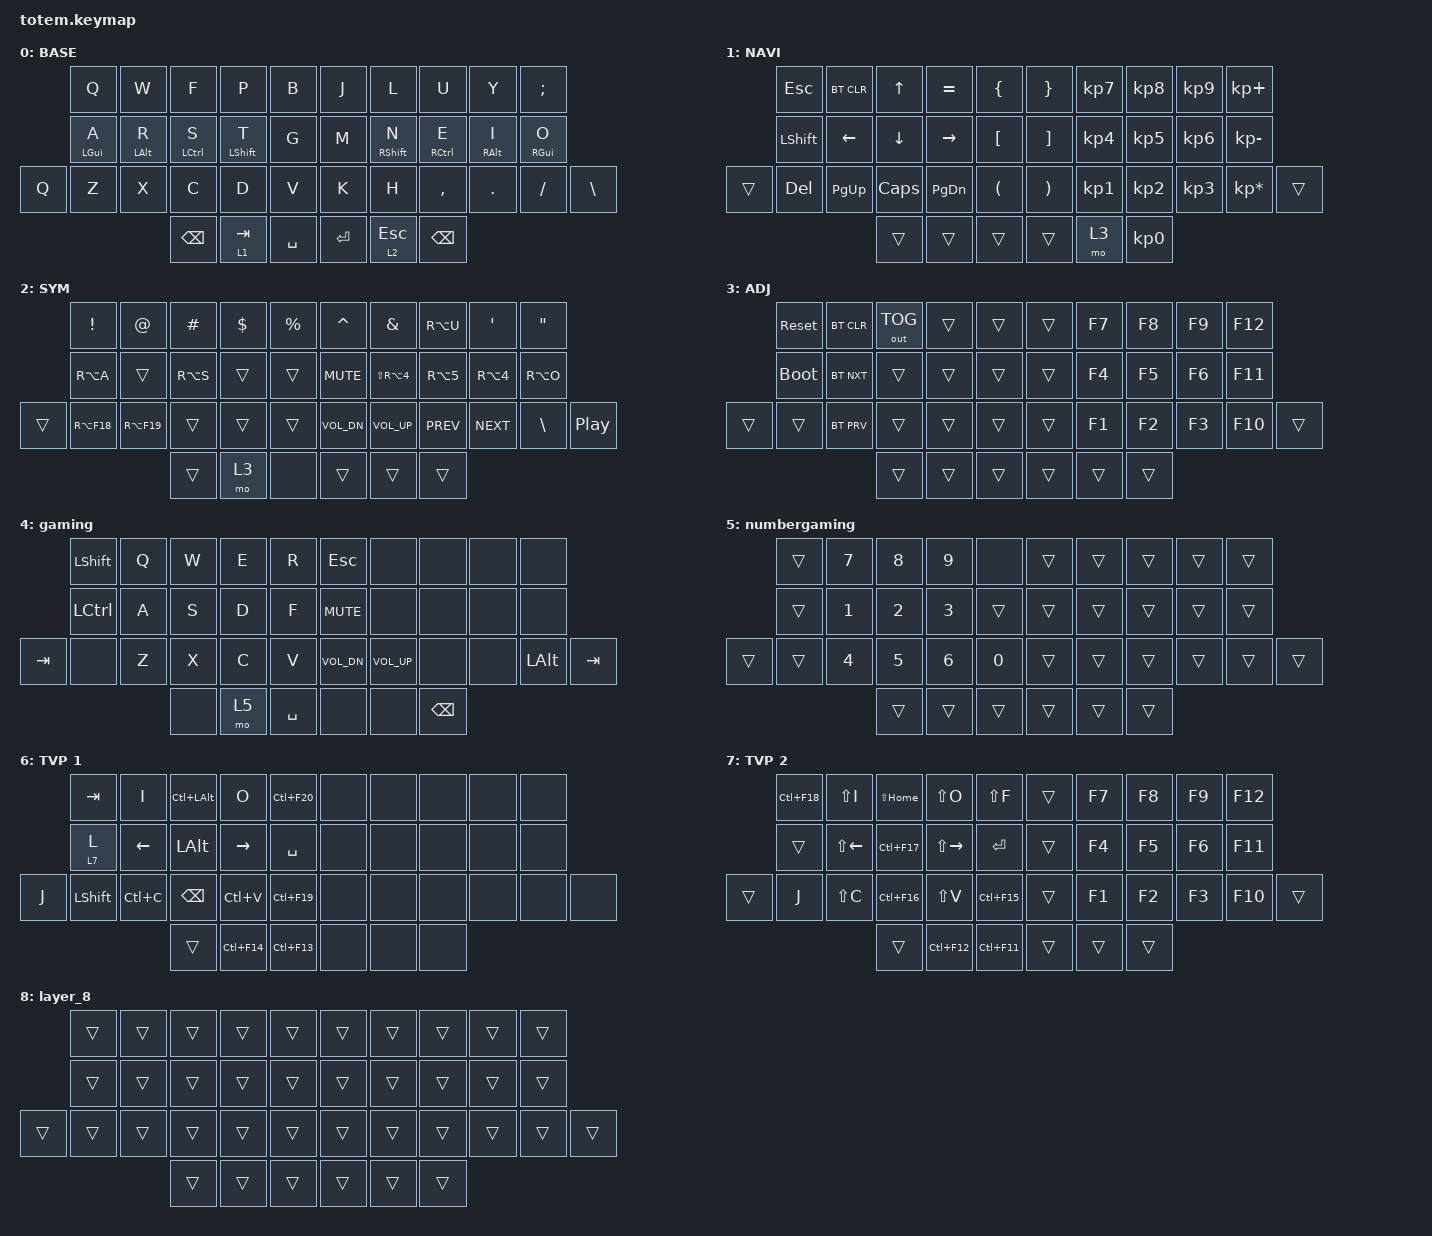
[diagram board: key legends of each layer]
//
//                                                        ▀▀▀▀▀     ▀▀▀▀▀          ▀▀█▀▀
//                                                        ▄▀▀▀▄  ▄  ▄▀▀▀▄  ▄  ▄▀▀▀▄  █  ▄▀▀▀▄
//                                                        █   █  █  █   █  █  █   █  █  █   █
//                                                         ▀▀▀   █   ▀▀▀   █   ▀▀▀   ▀   ▀▀▀
//                                                               █      ▄▄▄█▄▄▄    █   █  
//                                                               ▀      █  █  █     █▄█
//                                                             ▀▀▀▀▀    █  █  █      ▀
//                                                                      ▀  ▀  ▀
//
// ▄▄▄▄▄▄▄▄▄▄▄▄▄▄▄▄▄▄▄▄▄▄▄▄▄▄▄▄▄▄▄▄▄▄▄▄▄▄▄▄▄▄▄▄▄▄▄▄▄▄▄▄▄▄▄▄▄▄▄▄▄▄▄▄▄▄▄▄▄▄▄▄▄▄▄▄▄▄▄▄▄▄▄▄▄▄▄▄▄▄▄▄▄▄▄▄▄▄▄▄▄▄▄▄▄▄▄▄▄▄▄▄▄▄▄▄▄▄▄▄▄▄▄▄▄▄▄▄▄▄▄▄▄▄▄▄▄▄▄▄▄▄▄▄▄▄▄▄▄

#include <behaviors.dtsi>
#include <dt-bindings/zmk/bt.h>
#include <dt-bindings/zmk/keys.h>
#include <dt-bindings/zmk/outputs.h>

#define BASE 0
#define NAV  1
#define SYM  2
#define ADJ  3
#define TVP1 4
#define TVP2 5

&mt {
    quick-tap-ms = <100>;
    global-quick-tap;
    flavor = "tap-preferred";
    tapping-term-ms = <200>;
};

/ {
    combos {
        compatible = "zmk,combos";

        combo_esc {
            timeout-ms = <50>;
            key-positions = <0 1>;
            bindings = <&kp ESC>;
        };

        gamemode {
            bindings = <&tog 4>;
            key-positions = <7 8 9>;
        };

        enter {
            bindings = <&kp ENTER>;
            key-positions = <16 17 18>;
            timeout-ms = <100>;
        };

        xxzenter {
            bindings = <&kp ENTER>;
            key-positions = <11 13 12>;
        };
    };

    macros {
        gif: gif {
            label = "giphy";
            compatible = "zmk,behavior-macro";
            #binding-cells = <0>;
            bindings =
                <&macro_press>,
                <&kp LSHFT>,
                <&macro_tap>,
                <&kp N2>,
                <&macro_release>,
                <&kp LSHFT>,
                <&macro_tap>,
                <&kp G &kp I &kp F>;
        };
    };

    keymap {
        compatible = "zmk,keymap";

        // ▄▄▄▄▄▄▄▄▄▄▄▄▄▄▄▄▄▄▄▄▄▄▄▄▄▄▄▄▄▄▄▄▄▄▄▄▄▄▄▄▄▄▄▄▄▄▄▄▄▄▄▄▄▄▄▄▄▄▄▄▄▄▄▄▄▄▄▄▄▄▄▄▄▄▄▄▄▄▄▄▄▄▄▄▄▄▄▄▄▄▄▄▄▄▄▄▄▄▄▄▄▄▄▄▄▄▄▄▄▄▄▄▄▄▄▄▄▄▄▄▄▄▄▄▄▄▄▄▄▄▄▄▄▄▄▄▄▄▄▄▄▄▄▄▄▄▄▄▄

        base_layer {
            // ┏━━━━━━━━━━━━━━━━━━━━━━━━━━━━━━━━━━━━━━━┓

            label = "BASE";

            // ┗━━━━━━━━━━━━━━━━━━━━━━━━━━━━━━━━━━━━━━━┛
            //             ┏━━━━━━━━━━━┳━━━━━━━━━━━┳━━━━━━━━━━━┳━━━━━━━━━━━┳━━━━━━━━━━━┓   ┏━━━━━━━━━━━┳━━━━━━━━━━━┳━━━━━━━━━━━┳━━━━━━━━━━━┳━━━━━━━━━━━┓
            //             ┃     Q     ┃     W     ┃     F     ┃     P     ┃     G     ┃   ┃     J     ┃     L     ┃     U     ┃     Y     ┃     ;     ┃
            //             ┣━━━━━━━━━━━╋━━━━━━━━━━━╋━━━━━━━━━━━╋━━━━━━━━━━━╋━━━━━━━━━━━┫   ┣━━━━━━━━━━━╋━━━━━━━━━━━╋━━━━━━━━━━━╋━━━━━━━━━━━╋━━━━━━━━━━━┫
            //             ┃     A     ┃     R     ┃     S     ┃     T     ┃     D     ┃   ┃     H     ┃     N     ┃     E     ┃     I     ┃     O     ┃
            // ┏━━━━━━━━━━━╋━━━━━━━━━━━╋━━━━━━━━━━━╋━━━━━━━━━━━╋━━━━━━━━━━━╋━━━━━━━━━━━┫   ┣━━━━━━━━━━━╋━━━━━━━━━━━╋━━━━━━━━━━━╋━━━━━━━━━━━╋━━━━━━━━━━━╋━━━━━━━━━━━┓
            // ┃     Q     ┃     Z     ┃     X     ┃     C     ┃     V     ┃     B     ┃   ┃     K     ┃     M     ┃     ,     ┃     .     ┃     /     ┃     \     ┃
            // ┗━━━━━━━━━━━┻━━━━━━━━━━━┻━━━━━━━━━━━╋━━━━━━━━━━━╋━━━━━━━━━━━╋━━━━━━━━━━━┫   ┣━━━━━━━━━━━╋━━━━━━━━━━━╋━━━━━━━━━━━╋━━━━━━━━━━━┻━━━━━━━━━━━┻━━━━━━━━━━━┛
            //                                     ┃    DEL    ┃    TAB    ┃    SPC    ┃   ┃   ENTER   ┃           ┃   BSPC    ┃
            //                                     ┗━━━━━━━━━━━┻━━━━━━━━━━━┻━━━━━━━━━━━┛   ┗━━━━━━━━━━━┻━━━━━━━━━━━┻━━━━━━━━━━━┛

            bindings = <
       &kp Q       &kp W       &kp F          &kp P        &kp B        &kp J    &kp L        &kp U        &kp Y       &kp SEMI
       &mt LGUI A  &mt LALT R  &mt LCTRL S    &mt LSHFT T  &kp G        &kp M    &mt RSHFT N  &mt RCTRL E  &mt RALT I  &mt RGUI O
&kp Q  &kp Z       &kp X       &kp C          &kp D        &kp V        &kp K    &kp H        &kp COMMA    &kp DOT     &kp FSLH    &kp BSLH
                               &kp BACKSPACE  &lt 1 TAB    &kp SPACE    &kp RET  &lt 2 ESC    &kp BSPC
            >;
        };

        nav_layer {
            // ┏━━━━━━━━━━━━━━━━━━━━━━━━━━━━━━━━━━━━━━━┓

            label = "NAVI";

            // ┗━━━━━━━━━━━━━━━━━━━━━━━━━━━━━━━━━━━━━━━┛
            //             ┏━━━━━━━━━━━┳━━━━━━━━━━━┳━━━━━━━━━━━┳━━━━━━━━━━━┳━━━━━━━━━━━┓   ┏━━━━━━━━━━━┳━━━━━━━━━━━┳━━━━━━━━━━━┳━━━━━━━━━━━┳━━━━━━━━━━━┓
            //             ┃           ┃           ┃     UP    ┃           ┃     {     ┃   ┃     }     ┃     7     ┃     8     ┃     9     ┃     +     ┃
            //             ┣━━━━━━━━━━━╋━━━━━━━━━━━╋━━━━━━━━━━━╋━━━━━━━━━━━╋━━━━━━━━━━━┫   ┣━━━━━━━━━━━╋━━━━━━━━━━━╋━━━━━━━━━━━╋━━━━━━━━━━━╋━━━━━━━━━━━┫
            //             ┃   SHIFT   ┃   LEFT    ┃    DOWN   ┃   RIGHT   ┃     [     ┃   ┃     ]     ┃     4     ┃     5     ┃     6     ┃     -     ┃
            // ┏━━━━━━━━━━━╋━━━━━━━━━━━╋━━━━━━━━━━━╋━━━━━━━━━━━╋━━━━━━━━━━━╋━━━━━━━━━━━┫   ┣━━━━━━━━━━━╋━━━━━━━━━━━╋━━━━━━━━━━━╋━━━━━━━━━━━╋━━━━━━━━━━━╋━━━━━━━━━━━┓
            // ┃           ┃           ┃   P UP    ┃  C LOCK   ┃  P DOWN   ┃     (     ┃   ┃     )     ┃     1     ┃     2     ┃     3     ┃     *     ┃           ┃
            // ┗━━━━━━━━━━━┻━━━━━━━━━━━┻━━━━━━━━━━━╋━━━━━━━━━━━╋━━━━━━━━━━━╋━━━━━━━━━━━┫   ┣━━━━━━━━━━━╋━━━━━━━━━━━╋━━━━━━━━━━━╋━━━━━━━━━━━┻━━━━━━━━━━━┻━━━━━━━━━━━┛
            //                                     ┃           ┃    TAB    ┃    SPC    ┃   ┃    DEL    ┃     0     ┃           ┃
            //                                     ┗━━━━━━━━━━━┻━━━━━━━━━━━┻━━━━━━━━━━━┛   ┗━━━━━━━━━━━┻━━━━━━━━━━━┻━━━━━━━━━━━┛

            bindings = <
        &kp ESC    &bt BT_CLR  &kp UP    &kp EQUAL  &kp LBRC    &kp RBRC  &kp KP_N7  &kp KP_N8        &kp KP_N9  &kp KP_PLUS
        &kp LSHFT  &kp LEFT    &kp DOWN  &kp RIGHT  &kp LBKT    &kp RBKT  &kp KP_N4  &kp KP_N5        &kp KP_N6  &kp KP_MINUS
&trans  &kp DEL    &kp PG_UP   &kp CAPS  &kp PG_DN  &kp LPAR    &kp RPAR  &kp KP_N1  &kp KP_N2        &kp KP_N3  &kp KP_MULTIPLY  &trans
                               &trans    &trans     &trans      &trans    &mo 3      &kp KP_NUMBER_0
            >;
        };

        sim_layer {
            // ┏━━━━━━━━━━━━━━━━━━━━━━━━━━━━━━━━━━━━━━━┓

            label = "SYM";

            // ┗━━━━━━━━━━━━━━━━━━━━━━━━━━━━━━━━━━━━━━━┛
            //             ┏━━━━━━━━━━━┳━━━━━━━━━━━┳━━━━━━━━━━━┳━━━━━━━━━━━┳━━━━━━━━━━━┓   ┏━━━━━━━━━━━┳━━━━━━━━━━━┳━━━━━━━━━━━┳━━━━━━━━━━━┳━━━━━━━━━━━┓
            //             ┃     !     ┃     @     ┃     #     ┃     $     ┃     %     ┃   ┃     ˆ     ┃     &     ┃     Ü     ┃     '     ┃     "     ┃
            //             ┣━━━━━━━━━━━╋━━━━━━━━━━━╋━━━━━━━━━━━╋━━━━━━━━━━━╋━━━━━━━━━━━┫   ┣━━━━━━━━━━━╋━━━━━━━━━━━╋━━━━━━━━━━━╋━━━━━━━━━━━╋━━━━━━━━━━━┫
            //             ┃     Ä     ┃           ┃    SZ     ┃           ┃           ┃   ┃   MUTE    ┃   YEN     ┃   EURO    ┃  POUND    ┃     Ö     ┃
            // ┏━━━━━━━━━━━╋━━━━━━━━━━━╋━━━━━━━━━━━╋━━━━━━━━━━━╋━━━━━━━━━━━╋━━━━━━━━━━━┫   ┣━━━━━━━━━━━╋━━━━━━━━━━━╋━━━━━━━━━━━╋━━━━━━━━━━━╋━━━━━━━━━━━╋━━━━━━━━━━━┓
            // ┃           ┃  EMAIL1   ┃  EMAIL2   ┃           ┃           ┃           ┃   ┃   VOL-    ┃   VOL+    ┃   LAST    ┃   NEXT    ┃     \     ┃           ┃
            // ┗━━━━━━━━━━━┻━━━━━━━━━━━┻━━━━━━━━━━━╋━━━━━━━━━━━╋━━━━━━━━━━━╋━━━━━━━━━━━┫   ┣━━━━━━━━━━━╋━━━━━━━━━━━╋━━━━━━━━━━━╋━━━━━━━━━━━┻━━━━━━━━━━━┻━━━━━━━━━━━┛
            //                                     ┃           ┃    GIF    ┃    ADJ    ┃   ┃           ┃           ┃           ┃
            //                                     ┗━━━━━━━━━━━┻━━━━━━━━━━━┻━━━━━━━━━━━┛   ┗━━━━━━━━━━━┻━━━━━━━━━━━┻━━━━━━━━━━━┛

            bindings = <
        &kp EXCL     &kp AT       &kp HASH   &kp DLLR  &kp PRCNT    &kp CARET     &kp AMPS        &kp RA(U)   &kp SQT     &kp DQT
        &kp RA(A)    &trans       &kp RA(S)  &trans    &trans       &kp C_MUTE    &kp LS(RA(N4))  &kp RA(N5)  &kp RA(N4)  &kp RA(O)
&trans  &kp RA(F18)  &kp RA(F19)  &trans     &trans    &trans       &kp C_VOL_DN  &kp C_VOL_UP    &kp C_PREV  &kp C_NEXT  &kp BSLH   &kp C_PP
                                  &trans     &mo 3     &none        &trans        &trans          &trans
            >;
        };

        adjust_layer {
            // ┏━━━━━━━━━━━━━━━━━━━━━━━━━━━━━━━━━━━━━━━┓

            label = "ADJ";

            // ┗━━━━━━━━━━━━━━━━━━━━━━━━━━━━━━━━━━━━━━━┛
            //             ┏━━━━━━━━━━━┳━━━━━━━━━━━┳━━━━━━━━━━━┳━━━━━━━━━━━┳━━━━━━━━━━━┓   ┏━━━━━━━━━━━┳━━━━━━━━━━━┳━━━━━━━━━━━┳━━━━━━━━━━━┳━━━━━━━━━━━┓
            //             ┃   RESET   ┃ BT CLEAR  ┃  OUT TOG  ┃           ┃           ┃   ┃           ┃    F7     ┃    F8     ┃    F9     ┃    F12    ┃
            //             ┣━━━━━━━━━━━╋━━━━━━━━━━━╋━━━━━━━━━━━╋━━━━━━━━━━━╋━━━━━━━━━━━┫   ┣━━━━━━━━━━━╋━━━━━━━━━━━╋━━━━━━━━━━━╋━━━━━━━━━━━╋━━━━━━━━━━━┫
            //             ┃ BOOTLOAD  ┃ BT NEXT   ┃           ┃           ┃           ┃   ┃           ┃    F4     ┃    F5     ┃    F6     ┃    F11    ┃
            // ┏━━━━━━━━━━━╋━━━━━━━━━━━╋━━━━━━━━━━━╋━━━━━━━━━━━╋━━━━━━━━━━━╋━━━━━━━━━━━┫   ┣━━━━━━━━━━━╋━━━━━━━━━━━╋━━━━━━━━━━━╋━━━━━━━━━━━╋━━━━━━━━━━━╋━━━━━━━━━━━┓
            // ┃           ┃           ┃ BT PREV   ┃           ┃           ┃           ┃   ┃           ┃    F1     ┃    F2     ┃    F3     ┃    F10    ┃           ┃
            // ┗━━━━━━━━━━━┻━━━━━━━━━━━┻━━━━━━━━━━━╋━━━━━━━━━━━╋━━━━━━━━━━━╋━━━━━━━━━━━┫   ┣━━━━━━━━━━━╋━━━━━━━━━━━╋━━━━━━━━━━━╋━━━━━━━━━━━┻━━━━━━━━━━━┻━━━━━━━━━━━┛
            //                                     ┃           ┃           ┃           ┃   ┃           ┃           ┃           ┃
            //                                     ┗━━━━━━━━━━━┻━━━━━━━━━━━┻━━━━━━━━━━━┛   ┗━━━━━━━━━━━┻━━━━━━━━━━━┻━━━━━━━━━━━┛

            bindings = <
        &sys_reset   &bt BT_CLR  &out OUT_TOG  &trans  &trans    &trans  &kp F7  &kp F8  &kp F9  &kp F12
        &bootloader  &bt BT_NXT  &trans        &trans  &trans    &trans  &kp F4  &kp F5  &kp F6  &kp F11
&trans  &trans       &bt BT_PRV  &trans        &trans  &trans    &trans  &kp F1  &kp F2  &kp F3  &kp F10  &trans
                                 &trans        &trans  &trans    &trans  &trans  &trans
            >;
        };

        gaming {
            bindings = <
         &kp LEFT_SHIFT  &kp Q  &kp W  &kp E  &kp R        &kp ESCAPE    &none            &none          &none  &none
         &kp LCTRL       &kp A  &kp S  &kp D  &kp F        &kp C_MUTE    &none            &none          &none  &none
&kp TAB  &none           &kp Z  &kp X  &kp C  &kp V        &kp C_VOL_DN  &kp C_VOLUME_UP  &none          &none  &kp LEFT_ALT  &kp TAB
                                &none  &mo 5  &kp SPACE    &none         &none            &kp BACKSPACE
            >;
        };

        numbergaming {
            bindings = <
        &trans  &kp N7        &kp N8        &kp N9        &none     &trans  &trans  &trans  &trans  &trans
        &trans  &kp NUMBER_1  &kp NUMBER_2  &kp NUMBER_3  &trans    &trans  &trans  &trans  &trans  &trans
&trans  &trans  &kp NUMBER_4  &kp N5        &kp NUMBER_6  &kp N0    &trans  &trans  &trans  &trans  &trans  &trans
                              &trans        &trans        &trans    &trans  &trans  &trans
            >;
        };

        tvp1_layer {
            // ┏━━━━━━━━━━━━━━━━━━━━━━━━━━━━━━━━━━━━━━━┓

            label = "TVP 1";

            // ┗━━━━━━━━━━━━━━━━━━━━━━━━━━━━━━━━━━━━━━━┛
            //             ┏━━━━━━━━━━━┳━━━━━━━━━━━┳━━━━━━━━━━━┳━━━━━━━━━━━┳━━━━━━━━━━━┓   ┏━━━━━━━━━━━┳━━━━━━━━━━━┳━━━━━━━━━━━┳━━━━━━━━━━━┳━━━━━━━━━━━┓
            //             ┃ NEXT FILE ┃ MARK IN   ┃ ROTATE    ┃ MARK OUT  ┃ SHOW SNAP ┃   ┃           ┃           ┃           ┃           ┃           ┃
            //             ┣━━━━━━━━━━━╋━━━━━━━━━━━╋━━━━━━━━━━━╋━━━━━━━━━━━╋━━━━━━━━━━━┫   ┣━━━━━━━━━━━╋━━━━━━━━━━━╋━━━━━━━━━━━╋━━━━━━━━━━━╋━━━━━━━━━━━┫
            //             ┃ TVP II    ┃ LEFT      ┃ PAN       ┃ RIGHT     ┃ PLAY/FLIP ┃   ┃           ┃           ┃           ┃           ┃           ┃
            // ┏━━━━━━━━━━━╋━━━━━━━━━━━╋━━━━━━━━━━━╋━━━━━━━━━━━╋━━━━━━━━━━━╋━━━━━━━━━━━┫   ┣━━━━━━━━━━━╋━━━━━━━━━━━╋━━━━━━━━━━━╋━━━━━━━━━━━╋━━━━━━━━━━━╋━━━━━━━━━━━┓
            // ┃ FULLSCR   ┃ SHIFT     ┃ COPY      ┃ DELETE    ┃ PASTE     ┃ IMG MARK  ┃   ┃           ┃           ┃           ┃           ┃           ┃           ┃
            // ┗━━━━━━━━━━━┻━━━━━━━━━━━┻━━━━━━━━━━━╋━━━━━━━━━━━╋━━━━━━━━━━━╋━━━━━━━━━━━┫   ┣━━━━━━━━━━━╋━━━━━━━━━━━╋━━━━━━━━━━━╋━━━━━━━━━━━┻━━━━━━━━━━━┻━━━━━━━━━━━┛
            //                                     ┃           ┃ UNDO/SAVE ┃  SEL/MOV  ┃   ┃           ┃           ┃           ┃
            //                                     ┗━━━━━━━━━━━┻━━━━━━━━━━━┻━━━━━━━━━━━┛   ┗━━━━━━━━━━━┻━━━━━━━━━━━┻━━━━━━━━━━━┛

            bindings = <
       &kp TAB    &kp I      &kp LC(LALT)  &kp O        &kp LC(F20)    &none  &none  &none  &none  &none
       &lt 7 L    &kp LEFT   &kp LALT      &kp RIGHT    &kp SPACE      &none  &none  &none  &none  &none
&kp J  &kp LSHFT  &kp LC(C)  &kp BSPC      &kp LC(V)    &kp LC(F19)    &none  &none  &none  &none  &none  &none
                             &trans        &kp LC(F14)  &kp LC(F13)    &none  &none  &none
            >;
        };

        tvp2_layer {
            // ┏━━━━━━━━━━━━━━━━━━━━━━━━━━━━━━━━━━━━━━━┓

            label = "TVP 2";

            // ┗━━━━━━━━━━━━━━━━━━━━━━━━━━━━━━━━━━━━━━━┛
            //             ┏━━━━━━━━━━━┳━━━━━━━━━━━┳━━━━━━━━━━━┳━━━━━━━━━━━┳━━━━━━━━━━━┓   ┏━━━━━━━━━━━┳━━━━━━━━━━━┳━━━━━━━━━━━┳━━━━━━━━━━━┳━━━━━━━━━━━┓
            //             ┃ SOLO      ┃ TOGGLE IN ┃ RESET ROT ┃ TOGGLE OUT┃ TAKE SNAP ┃   ┃           ┃           ┃           ┃           ┃           ┃
            //             ┣━━━━━━━━━━━╋━━━━━━━━━━━╋━━━━━━━━━━━╋━━━━━━━━━━━╋━━━━━━━━━━━┫   ┣━━━━━━━━━━━╋━━━━━━━━━━━╋━━━━━━━━━━━╋━━━━━━━━━━━╋━━━━━━━━━━━┫
            //             ┃ ---       ┃ LAST KEY  ┃ NEW KEY   ┃ NEXT KEY  ┃ ENTER     ┃   ┃           ┃           ┃           ┃           ┃           ┃
            // ┏━━━━━━━━━━━╋━━━━━━━━━━━╋━━━━━━━━━━━╋━━━━━━━━━━━╋━━━━━━━━━━━╋━━━━━━━━━━━┫   ┣━━━━━━━━━━━╋━━━━━━━━━━━╋━━━━━━━━━━━╋━━━━━━━━━━━╋━━━━━━━━━━━╋━━━━━━━━━━━┓
            // ┃           ┃ FULLSCR   ┃ CPY2BRUSH ┃ DEL HEAD  ┃ PSTinPLACE┃ BOOK MARK ┃   ┃           ┃           ┃           ┃           ┃           ┃           ┃
            // ┗━━━━━━━━━━━┻━━━━━━━━━━━┻━━━━━━━━━━━╋━━━━━━━━━━━╋━━━━━━━━━━━╋━━━━━━━━━━━┫   ┣━━━━━━━━━━━╋━━━━━━━━━━━╋━━━━━━━━━━━╋━━━━━━━━━━━┻━━━━━━━━━━━┻━━━━━━━━━━━┛
            //                                     ┃           ┃ REDO/SAV1 ┃TRANS/WARP ┃   ┃           ┃           ┃           ┃
            //                                     ┗━━━━━━━━━━━┻━━━━━━━━━━━┻━━━━━━━━━━━┛   ┗━━━━━━━━━━━┻━━━━━━━━━━━┻━━━━━━━━━━━┛

            bindings = <
        &kp LC(F18)  &kp LS(I)     &kp LS(HOME)  &kp LS(O)      &kp LS(F)      &trans  &kp F7  &kp F8  &kp F9  &kp F12
        &trans       &kp LS(LEFT)  &kp LC(F17)   &kp LS(RIGHT)  &kp RET        &trans  &kp F4  &kp F5  &kp F6  &kp F11
&trans  &kp J        &kp LS(C)     &kp LC(F16)   &kp LS(V)      &kp LC(F15)    &trans  &kp F1  &kp F2  &kp F3  &kp F10  &trans
                                   &trans        &kp LC(F12)    &kp LC(F11)    &trans  &trans  &trans
            >;
        };

        layer_8 {
            bindings = <
        &trans  &trans  &trans  &trans  &trans    &trans  &trans  &trans  &trans  &trans
        &trans  &trans  &trans  &trans  &trans    &trans  &trans  &trans  &trans  &trans
&trans  &trans  &trans  &trans  &trans  &trans    &trans  &trans  &trans  &trans  &trans  &trans
                        &trans  &trans  &trans    &trans  &trans  &trans
            >;
        };
    };
};
